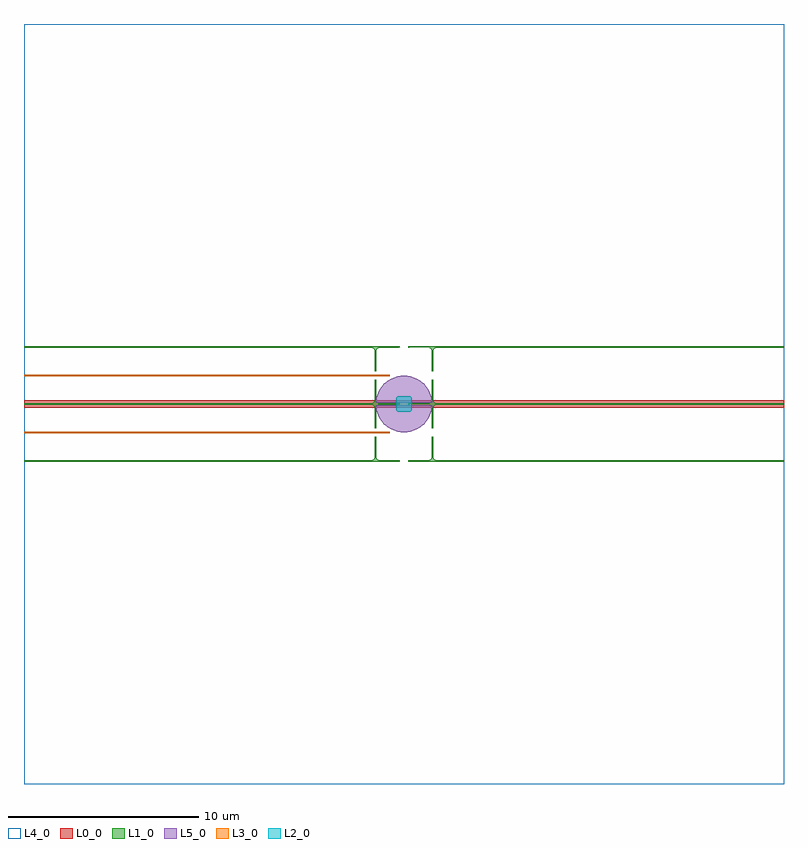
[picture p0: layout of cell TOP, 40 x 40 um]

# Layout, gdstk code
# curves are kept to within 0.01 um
import gdstk
lib = gdstk.Library(unit=1e-6, precision=1e-09)
def R(c, l, rs):  # rectangles x0, y0, x1, y1
    for r in rs: c.add(gdstk.rectangle(r[:2], r[2:], *l))
def P(c, l, *ps):  # polygons
    for p in ps: c.add(gdstk.Polygon(p, *l))
L0_0 = (0, 0)
L1_0 = (1, 0)
L2_0 = (2, 0)
L3_0 = (3, 0)
L4_0 = (4, 0)
L5_0 = (5, 0)

top = lib.new_cell('TOP')
R(top, L0_0, [(-20,-0.194,20,0.194)])
P(top, L1_0, [(-19.957,-3.05),(-20,-3.007),(-19.987,-2.966),(-19.957,-2.95),(-1.656,-2.95),(-1.586,-2.921),(-1.551,-2.855),(-1.55,-1.768),(-1.507,-1.725),(-1.466,-1.738),(-1.45,-1.768),(-1.45,-2.844),(-1.414,-2.921),(-1.344,-2.95),(-0.268,-2.95),(-0.225,-2.993),(-0.238,-3.034),(-0.268,-3.05)],
  [(0.268,-3.05),(0.225,-3.007),(0.238,-2.966),(0.268,-2.95),(1.344,-2.95),(1.421,-2.914),(1.45,-2.844),(1.45,-1.768),(1.493,-1.725),(1.534,-1.738),(1.55,-1.768),(1.551,-2.855),(1.586,-2.921),(1.656,-2.95),(19.957,-2.95),(20,-2.993),(19.987,-3.034),(19.957,-3.05)],
  [(-1.507,-1.275),(-1.55,-1.232),(-1.551,-0.145),(-1.586,-0.079),(-1.656,-0.05),(-19.957,-0.05),(-19.987,-0.034),(-20,0.007),(-19.957,0.05),(-1.656,0.05),(-1.586,0.079),(-1.551,0.145),(-1.55,1.232),(-1.534,1.262),(-1.493,1.275),(-1.45,1.232),(-1.45,0.156),(-1.421,0.086),(-1.344,0.05),(-0.268,0.05),(-0.238,0.034),(-0.225,-0.007),(-0.268,-0.05),(-1.344,-0.05),(-1.414,-0.079),(-1.45,-0.156),(-1.45,-1.232),(-1.466,-1.262)],
  [(1.493,-1.275),(1.45,-1.232),(1.45,-0.156),(1.421,-0.086),(1.344,-0.05),(0.268,-0.05),(0.225,-0.007),(0.238,0.034),(0.268,0.05),(1.344,0.05),(1.421,0.086),(1.45,0.156),(1.45,1.232),(1.493,1.275),(1.534,1.262),(1.55,1.232),(1.551,0.145),(1.586,0.079),(1.656,0.05),(19.957,0.05),(20,0.007),(19.987,-0.034),(19.957,-0.05),(1.656,-0.05),(1.586,-0.079),(1.551,-0.145),(1.55,-1.232),(1.534,-1.262)],
  [(-1.507,1.725),(-1.55,1.768),(-1.551,2.855),(-1.586,2.921),(-1.656,2.95),(-19.957,2.95),(-19.987,2.966),(-20,3.007),(-19.957,3.05),(-0.268,3.05),(-0.225,3.007),(-0.238,2.966),(-0.268,2.95),(-1.344,2.95),(-1.421,2.914),(-1.45,2.844),(-1.45,1.768),(-1.466,1.738)],
  [(1.493,1.725),(1.45,1.768),(1.45,2.844),(1.421,2.914),(1.344,2.95),(0.268,2.95),(0.225,2.993),(0.238,3.034),(0.268,3.05),(19.957,3.05),(20,3.007),(19.987,2.966),(19.957,2.95),(1.656,2.95),(1.586,2.921),(1.551,2.855),(1.55,1.768),(1.534,1.738)])
P(top, L2_0, [(-0.305,-0.4),(-0.367,-0.374),(-0.4,-0.305),(-0.4,0.305),(-0.374,0.367),(-0.305,0.4),(0.305,0.4),(0.367,0.374),(0.4,0.305),(0.4,-0.305),(0.374,-0.367),(0.305,-0.4)])
P(top, L3_0, [(-19.957,-1.55),(-20,-1.507),(-19.987,-1.466),(-19.957,-1.45),(-0.793,-1.45),(-0.75,-1.493),(-0.763,-1.534),(-0.793,-1.55)],
  [(-19.957,1.45),(-20,1.493),(-19.987,1.534),(-19.957,1.55),(-0.793,1.55),(-0.75,1.507),(-0.763,1.466),(-0.793,1.45)])
R(top, L4_0, [(-20,-20,20,20)])
P(top, L5_0, [(-0.037,-1.49),(-0.327,-1.454),(-0.604,-1.363),(-0.858,-1.219),(-1.028,-1.079),(-1.219,-0.858),(-1.363,-0.604),(-1.454,-0.327),(-1.488,-0.065),(1.488,-0.065),(1.454,-0.327),(1.363,-0.604),(1.219,-0.858),(1.028,-1.079),(0.797,-1.259),(0.536,-1.391),(0.255,-1.469)],
  [(-1.488,0.065),(-1.454,0.327),(-1.363,0.604),(-1.219,0.858),(-1.028,1.079),(-0.858,1.219),(-0.604,1.363),(-0.327,1.454),(-0.037,1.49),(0.255,1.469),(0.536,1.391),(0.797,1.259),(1.028,1.079),(1.219,0.858),(1.363,0.604),(1.454,0.327),(1.488,0.065)])

lib.write_gds('TOP.gds')
